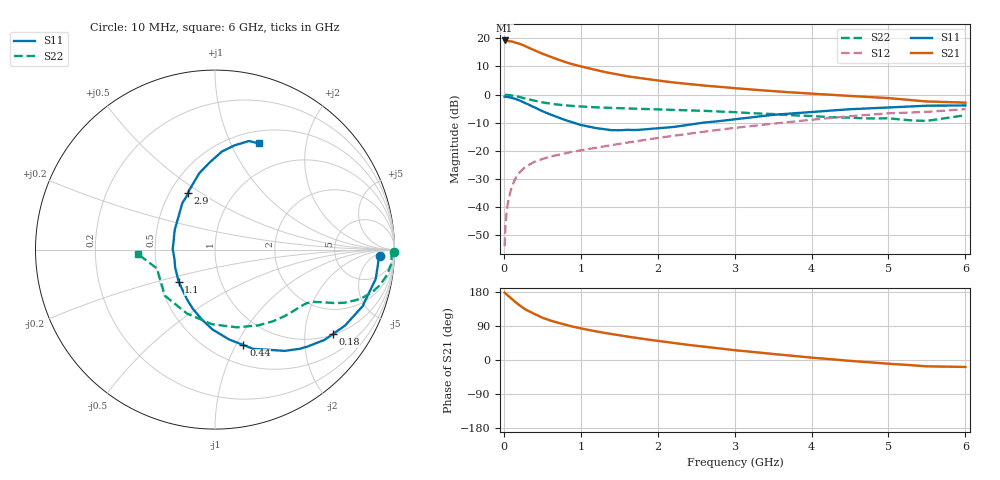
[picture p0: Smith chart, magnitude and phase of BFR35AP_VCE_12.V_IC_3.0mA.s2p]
! Infineon Technologies  Discrete & RF Semiconductors
! BFR35AP
! VCE =  12. V,  IC =  3.0 mA
! Common Emitter S-Parameters:  Nov 2015
# GHz  S  MA  R  50
!  f  S11  S21  S12  S22
! GHz  MAG  ANG  MAG  ANG  MAG  ANG  MAG  ANG
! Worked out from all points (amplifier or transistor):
!   210 points, 10 MHz to 6 GHz, reference 50 ohm
!   highest |S21| = 19.3 dB at 10 MHz (marker M1)
!   |S21| within 3 dB of that: start of sweep to 356.4 MHz
!   unconditionally stable (mu >= 1): 1.07 GHz to 3.057 GHz
!   at 185 MHz: K = 0.27, MSG = 23.3 dB, |S12| = -28.5 dB
!   at 1.52 GHz: K = 1.11, MAG = 10.3 dB, |S12| = -17.5 dB
!   at 6 GHz: K = 0.89, MSG = 1.2 dB, |S12| = -5.2 dB
!   S11 on the Smith chart (normalised r, x): 10 MHz: 20, -9; 180 MHz: 1.02, -2.77; 440 MHz: 0.70, -1.07; 1.1 GHz: 0.63, -0.24; 2.9 GHz: 0.62, +0.45; 6 GHz: 0.64, +1.29
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0.01  0.9184 -2.1  9.192 178.0  0.002 87.1  0.9962 -0.8
0.025  0.9116 -5.1  9.035 175.0  0.0054 84.4  0.9842 -2.1
0.06  0.9019 -12.4  8.963 168.9  0.0133 82.5  0.9831 -5.1
0.1  0.8808 -21.0  8.895 161.8  0.0216 78.5  0.9685 -8.4
0.15  0.8386 -30.4  8.405 152.7  0.0319 72.9  0.9407 -12.1
0.18  0.8074 -35.7  8.184 148.2  0.0369 70.0  0.9205 -13.9
0.26  0.7253 -49.7  7.494 136.3  0.0486 64.1  0.8625 -18.2
0.3  0.6854 -55.4  7.049 131.3  0.0537 62.1  0.835 -19.7
0.44  0.5554 -73.4  5.802 117.7  0.0666 56.6  0.7574 -23.1
0.5  0.5075 -81.0  5.353 111.6  0.0711 55.3  0.7269 -24.2
0.6  0.4454 -91.8  4.75 104.5  0.0784 53.8  0.6897 -25.3
0.7  0.3955 -100.8  4.226 98.5  0.0842 53.5  0.6635 -26.2
0.9  0.3188 -119.2  3.441 87.8  0.0963 53.1  0.6264 -27.7
1.02  0.284 -130.9  3.127 82.6  0.1026 53.5  0.611 -28.6
1.1  0.2703 -138.5  2.945 79.4  0.1072 54.0  0.6017 -29.4
1.6  0.2359 179.5  2.121 61.9  0.1394 55.5  0.5672 -34.8
2.02  0.2527 151.1  1.768 50.0  0.1702 55.9  0.5449 -40.7
2.9  0.3498 115.3  1.338 28.3  0.2457 52.5  0.4921 -57.7
3.1  0.3766 110.3  1.268 24.0  0.2643 51.0  0.4772 -62.7
4.1  0.5027 91.2  1.019 4.6  0.3671 41.6  0.4064 -96.3
5.1  0.5985 78.0  0.842 -11.1  0.4688 27.6  0.3666 -141.8
6  0.6411 67.4  0.719 -18.4  0.5487 16.2  0.4294 -176.7
